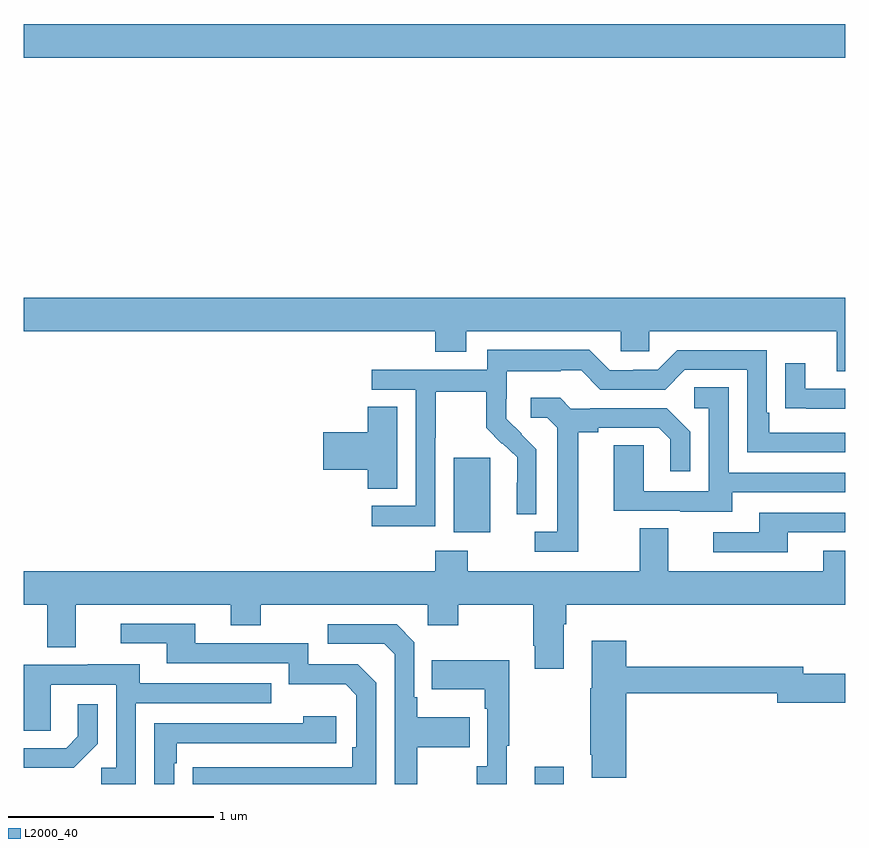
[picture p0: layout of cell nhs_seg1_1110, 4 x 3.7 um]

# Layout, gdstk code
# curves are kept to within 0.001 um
import gdstk
lib = gdstk.Library(unit=1e-6, precision=1e-09)
def R(c, l, rs):  # rectangles x0, y0, x1, y1
    for r in rs: c.add(gdstk.rectangle(r[:2], r[2:], *l))
def P(c, l, *ps):  # polygons
    for p in ps: c.add(gdstk.Polygon(p, *l))
L2000_40 = (2000, 40)

nhs_seg1_1110 = lib.new_cell('nhs_seg1_1110')
R(nhs_seg1_1110, L2000_40, [(173.489,544.199,173.629,544.282), (173.093,545.426,173.272,545.787), (171,547.736,175,547.9)])
P(nhs_seg1_1110, L2000_40, [(175,546.568),(171,546.568),(171,546.404),(173.003,546.404),(173.003,546.305),(173.155,546.305),(173.155,546.404),(173.907,546.404),(173.907,546.306),(174.045,546.306),(174.045,546.404),(174.959,546.404),(174.959,546.21),(175,546.21)],
  [(173.004,545.884),(173.007,545.884),(173.007,546.108),(173.251,546.108),(173.251,545.933),(173.328,545.856),(173.331,545.859),(173.402,545.789),(173.402,545.666),(173.4,545.666),(173.4,545.512),(173.496,545.512),(173.496,545.83),(173.35,545.978),(173.35,546.075),(173.352,546.075),(173.352,546.209),(173.615,546.209),(173.615,546.213),(173.715,546.213),(173.808,546.12),(174.123,546.12),(174.219,546.216),(174.522,546.216),(174.522,545.814),(175,545.814),(175,545.91),(174.631,545.91),(174.631,546.007),(174.618,546.007),(174.618,546.312),(174.183,546.312),(174.087,546.216),(173.969,546.216),(173.969,546.213),(173.853,546.213),(173.753,546.313),(173.256,546.313),(173.256,546.216),(172.695,546.216),(172.695,546.12),(172.908,546.12),(172.908,545.553),(172.695,545.553),(172.695,545.455),(173.004,545.455)],
  [(175,546.123),(174.805,546.123),(174.805,546.247),(174.709,546.247),(174.709,546.028),(174.811,546.028),(174.811,546.027),(175,546.027)],
  [(174.451,545.619),(175,545.619),(175,545.715),(174.432,545.715),(174.432,546.131),(174.264,546.131),(174.264,546.03),(174.336,546.03),(174.336,545.625),(174.018,545.625),(174.018,545.849),(173.873,545.849),(173.873,545.529),(174.197,545.529),(174.197,545.525),(174.451,545.525)],
  [(173.701,545.912),(173.797,545.912),(173.797,545.934),(174.092,545.934),(174.149,545.877),(174.149,545.721),(174.246,545.721),(174.246,545.914),(174.13,546.03),(173.758,546.03),(173.758,546.027),(173.664,546.027),(173.612,546.079),(173.469,546.079),(173.469,545.982),(173.55,545.982),(173.597,545.935),(173.597,545.427),(173.487,545.427),(173.487,545.331),(173.701,545.331)],
  [(172.819,546.035),(172.676,546.035),(172.676,545.912),(172.458,545.912),(172.458,545.729),(172.676,545.729),(172.676,545.638),(172.819,545.638)],
  [(174.721,545.424),(175,545.424),(175,545.52),(174.581,545.52),(174.581,545.424),(174.357,545.424),(174.357,545.328),(174.721,545.328)],
  [(173.629,544.976),(173.642,544.976),(173.642,545.072),(175,545.072),(175,545.335),(174.893,545.335),(174.893,545.236),(174.139,545.236),(174.139,545.444),(173.999,545.444),(173.999,545.236),(173.163,545.236),(173.163,545.335),(173.003,545.335),(173.003,545.236),(171,545.236),(171,545.072),(171.113,545.072),(171.113,544.864),(171.253,544.864),(171.253,545.072),(172.007,545.072),(172.007,544.973),(172.155,544.973),(172.155,545.072),(172.968,545.072),(172.968,544.973),(173.115,544.973),(173.115,545.072),(173.482,545.072),(173.482,544.873),(173.489,544.873),(173.489,544.761),(173.629,544.761)],
  [(172.716,544.692),(172.626,544.782),(172.386,544.782),(172.386,544.884),(171.835,544.884),(171.835,544.98),(171.471,544.98),(171.471,544.884),(171.695,544.884),(171.695,544.788),(172.29,544.788),(172.29,544.685),(172.567,544.685),(172.62,544.632),(172.62,544.378),(172.6,544.378),(172.6,544.281),(171.823,544.28),(171.823,544.199),(172.716,544.199)],
  [(172.915,544.378),(173.171,544.378),(173.171,544.525),(172.915,544.525),(172.915,544.621),(172.902,544.621),(172.902,544.89),(172.815,544.977),(172.479,544.977),(172.479,544.881),(172.755,544.881),(172.806,544.83),(172.806,544.199),(172.915,544.199)],
  [(173.933,544.642),(174.668,544.642),(174.668,544.595),(175,544.595),(175,544.737),(174.796,544.737),(174.796,544.771),(173.933,544.771),(173.933,544.897),(173.765,544.897),(173.765,544.665),(173.758,544.665),(173.758,544.342),(173.765,544.342),(173.765,544.23),(173.933,544.23)],
  [(173.353,544.385),(173.365,544.385),(173.365,544.801),(172.987,544.801),(172.987,544.661),(173.244,544.661),(173.244,544.565),(173.256,544.565),(173.256,544.286),(173.205,544.286),(173.205,544.199),(173.353,544.199)],
  [(171.546,544.593),(172.205,544.593),(172.205,544.689),(171.565,544.689),(171.565,544.783),(171.311,544.783),(171.311,544.779),(171,544.779),(171,544.459),(171.132,544.459),(171.132,544.683),(171.45,544.683),(171.45,544.278),(171.378,544.278),(171.378,544.199),(171.546,544.199)],
  [(171.36,544.394),(171.36,544.588),(171.263,544.588),(171.263,544.431),(171.206,544.374),(171,544.374),(171,544.278),(171.244,544.278)],
  [(171.732,544.301),(171.745,544.301),(171.745,544.398),(172.522,544.398),(172.522,544.528),(172.361,544.528),(172.361,544.494),(171.636,544.494),(171.636,544.199),(171.732,544.199)])

lib.write_gds('nhs_seg1_1110.gds')
